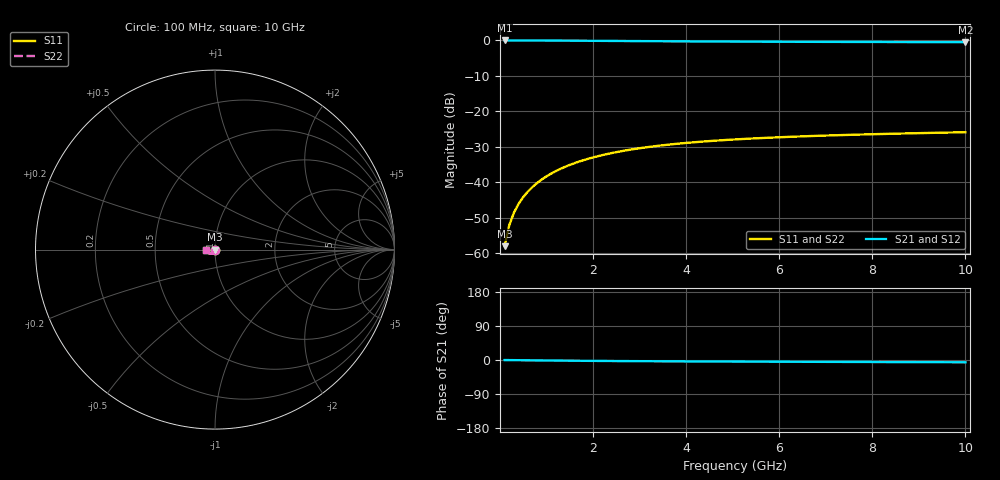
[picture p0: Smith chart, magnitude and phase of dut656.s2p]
! Touchstone file exported from HFSS 2024.1.0
!  File:  C:/UserFiles/LocalFiles/RDL_TSV_Batchsim/temp_TSV1_656_1779792765.aedt
!  Generated:  06:58:28 PM May 26, 2026
!  Design:  TSV1
!  Project:  temp_TSV1_656_1779792765
!  Setup:  Setup1
!  Solution:  Sweep
! Variables:
!  dtsv = 8.47um
!  hbump = 3um
!  htsv = 96.51um
!  lrdl = 252.1521522um
!  p = 40
!  p1 = 43.67um
!  t = 500um
!  trdl = 3um
!  wrdl = 24.89489489um
# GHz S MA R 50.000000
! Terminal data exported
! Port[1] = TSV22_T1
! Port[2] = TSV22_T2
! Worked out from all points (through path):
!   100 points, 100 MHz to 10 GHz, reference 50 ohm
!   highest |S21| = 0.00 dB at 100 MHz (marker M1); lowest = -0.5 dB at 10 GHz (marker M2)
!   lowest |S11| = -58.0 dB at 100 MHz (marker M3), VSWR 1.00, Z = 50 - j0.124 ohm
!   |S11| at or under -10 dB: start of sweep to end of sweep
!   |S22| runs from -58.0 to -25.9 dB; largest |S21 - S12| = 3.5e-15
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0.1  0.001255 -81.1  0.9997 -0.1  0.9997 -0.1  0.001255 -81.1
! Gamma 0 0 0 0
! Port Impedance 50 0 50 0
0.2  0.002484 -87.7  0.9996 -0.3  0.9996 -0.3  0.002484 -87.7
0.3  0.003721 -91.1  0.9994 -0.4  0.9994 -0.4  0.003721 -91.1
0.4  0.004955 -93.6  0.9991 -0.5  0.9991 -0.5  0.004955 -93.6
0.5  0.006182 -95.8  0.9988 -0.7  0.9988 -0.7  0.006182 -95.8
0.6  0.007397 -97.8  0.9984 -0.8  0.9984 -0.8  0.007397 -97.8
0.7  0.0086 -99.7  0.998 -0.9  0.998 -0.9  0.0086 -99.7
0.8  0.009787 -101.5  0.9975 -1.0  0.9975 -1.0  0.009787 -101.5
0.9  0.01096 -103.3  0.9969 -1.2  0.9969 -1.2  0.01096 -103.3
1.1  0.01324 -106.6  0.9956 -1.4  0.9956 -1.4  0.01324 -106.6
1.4  0.01651 -111.4  0.9934 -1.7  0.9934 -1.7  0.01651 -111.4
1.6  0.01857 -114.4  0.9918 -1.9  0.9918 -1.9  0.01857 -114.4
1.8  0.02053 -117.4  0.99 -2.1  0.99 -2.1  0.02053 -117.4
2.1  0.02328 -121.6  0.9873 -2.4  0.9873 -2.4  0.02328 -121.6
2.5  0.02659 -126.8  0.9836 -2.7  0.9836 -2.7  0.02659 -126.8
2.9  0.02951 -131.6  0.9799 -3.0  0.9799 -3.0  0.02951 -131.6
3.4  0.03267 -137.1  0.9756 -3.3  0.9756 -3.3  0.03267 -137.1
4.2  0.03678 -144.9  0.9694 -3.8  0.9694 -3.8  0.03678 -144.9
5.1  0.04034 -152.3  0.9636 -4.2  0.9636 -4.2  0.04034 -152.3
6.7  0.04488 -163.2  0.956 -4.8  0.956 -4.8  0.04488 -163.2
8.4  0.04828 -172.4  0.9505 -5.4  0.9505 -5.4  0.04828 -172.4
10  0.05079 -179.7  0.9468 -6.0  0.9468 -6.0  0.05079 -179.7
